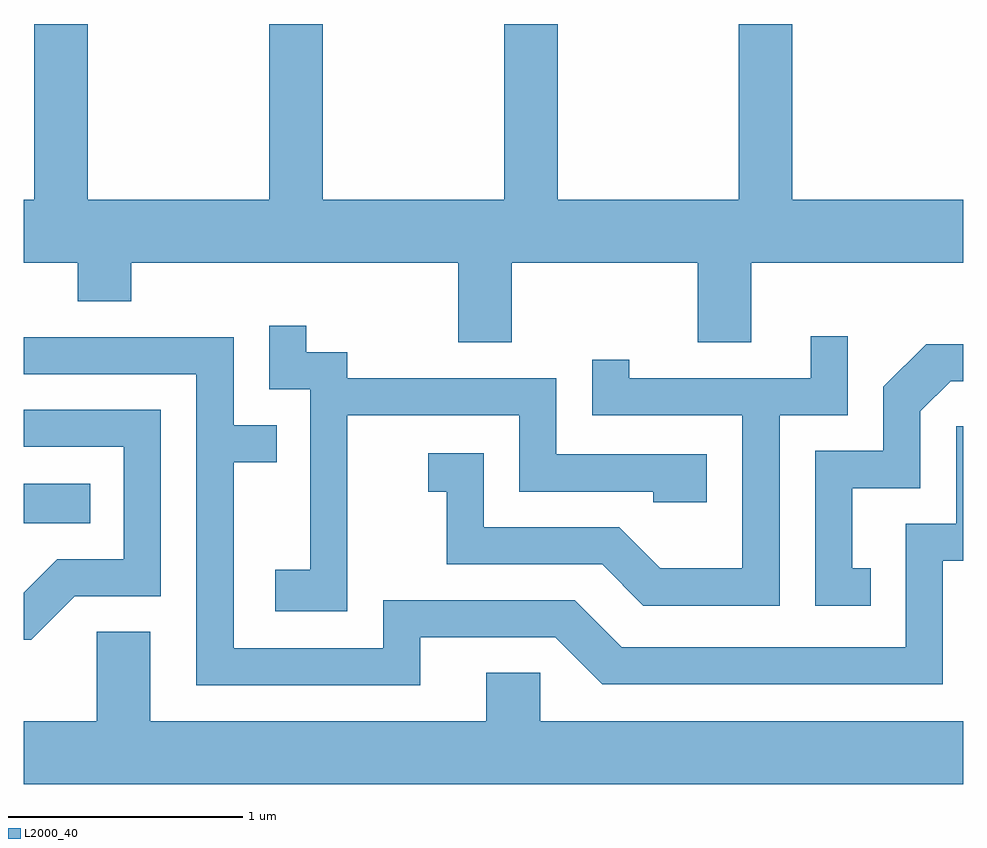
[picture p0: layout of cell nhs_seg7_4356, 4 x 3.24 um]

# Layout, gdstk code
import gdstk
lib = gdstk.Library(unit=1e-6, precision=1e-09)
def R(c, l, rs):  # rectangles x0, y0, x1, y1
    for r in rs: c.add(gdstk.rectangle(r[:2], r[2:], *l))
def P(c, l, *ps):  # polygons
    for p in ps: c.add(gdstk.Polygon(p, *l))
L2000_40 = (2000, 40)

nhs_seg7_4356 = lib.new_cell('nhs_seg7_4356')
R(nhs_seg7_4356, L2000_40, [(319.611,1682.126,319.893,1682.294)])
P(nhs_seg7_4356, L2000_40, [(321.689,1683.236),(322.481,1683.236),(322.481,1682.896),(322.709,1682.896),(322.709,1683.236),(323.611,1683.236),(323.611,1683.504),(322.884,1683.504),(322.884,1684.252),(322.656,1684.252),(322.656,1683.504),(321.884,1683.504),(321.884,1684.252),(321.656,1684.252),(321.656,1683.504),(320.884,1683.504),(320.884,1684.252),(320.656,1684.252),(320.656,1683.504),(319.884,1683.504),(319.884,1684.252),(319.656,1684.252),(319.656,1683.504),(319.611,1683.504),(319.611,1683.236),(319.841,1683.236),(319.841,1683.071),(320.069,1683.071),(320.069,1683.236),(321.461,1683.236),(321.461,1682.896),(321.689,1682.896)],
  [(320.989,1682.586),(321.721,1682.586),(321.721,1682.261),(322.291,1682.261),(322.291,1682.216),(322.519,1682.216),(322.519,1682.419),(321.879,1682.419),(321.879,1682.744),(320.989,1682.744),(320.989,1682.854),(320.814,1682.854),(320.814,1682.968),(320.656,1682.968),(320.656,1682.696),(320.831,1682.696),(320.831,1681.929),(320.681,1681.929),(320.681,1681.751),(320.989,1681.751)],
  [(322.829,1682.586),(323.119,1682.586),(323.119,1682.923),(322.961,1682.923),(322.961,1682.744),(322.189,1682.744),(322.189,1682.823),(322.031,1682.823),(322.031,1682.586),(322.671,1682.586),(322.671,1681.934),(322.322,1681.934),(322.147,1682.109),(321.569,1682.109),(321.569,1682.424),(321.333,1682.424),(321.333,1682.261),(321.411,1682.261),(321.411,1681.951),(322.074,1681.951),(322.249,1681.776),(322.829,1681.776)],
  [(321.299,1681.641),(321.874,1681.641),(322.074,1681.441),(323.524,1681.441),(323.524,1681.966),(323.611,1681.966),(323.611,1682.539),(323.581,1682.539),(323.581,1682.124),(323.366,1682.124),(323.366,1681.599),(322.157,1681.599),(321.957,1681.799),(321.141,1681.799),(321.141,1681.594),(320.504,1681.594),(320.504,1682.386),(320.688,1682.386),(320.688,1682.544),(320.504,1682.544),(320.504,1682.919),(319.611,1682.919),(319.611,1682.761),(320.346,1682.761),(320.346,1681.436),(321.299,1681.436)],
  [(323.218,1681.934),(323.139,1681.934),(323.139,1682.276),(323.429,1682.276),(323.429,1682.604),(323.557,1682.731),(323.611,1682.731),(323.611,1682.889),(323.454,1682.889),(323.271,1682.707),(323.271,1682.434),(322.981,1682.434),(322.981,1681.776),(323.218,1681.776)],
  [(319.827,1681.816),(320.194,1681.816),(320.194,1682.609),(319.611,1682.609),(319.611,1682.451),(320.036,1682.451),(320.036,1681.974),(319.754,1681.974),(319.611,1681.831),(319.611,1681.631),(319.642,1681.631)],
  [(323.611,1681.284),(321.809,1681.284),(321.809,1681.489),(321.581,1681.489),(321.581,1681.284),(320.149,1681.284),(320.149,1681.664),(319.921,1681.664),(319.921,1681.284),(319.611,1681.284),(319.611,1681.016),(323.611,1681.016)])

lib.write_gds('nhs_seg7_4356.gds')
